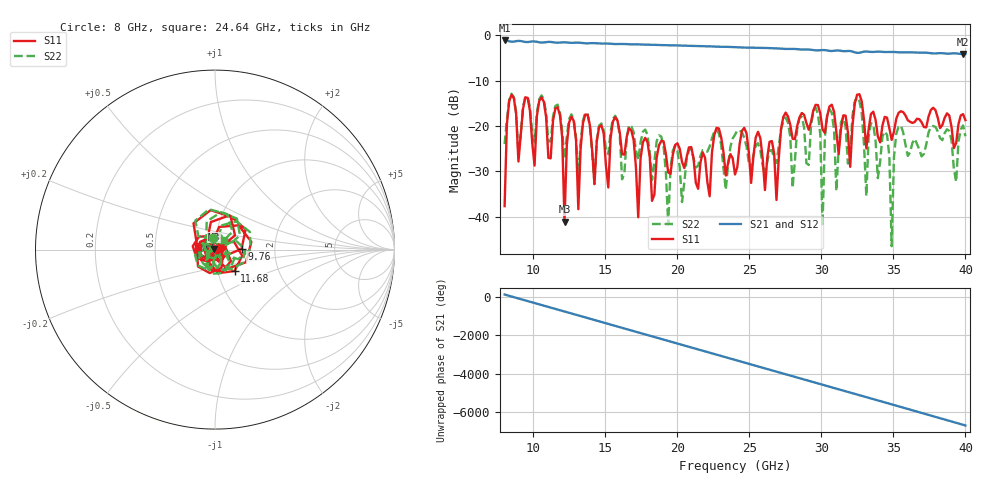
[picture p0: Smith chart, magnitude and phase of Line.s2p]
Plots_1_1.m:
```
clear;
close all;
SetupPath;


linewidth = 1;
axlinewidth = 1;
nplotx = 6;
nploty = 4;
xlims = [12 32];

clrs = lines(7);
clrs(4,:) = [];
    
file = 'Line.s2p';
[parameters, data] = CST.LoadData(file);
fs = parameters.frequencies/1e9;

s11 = squeeze(data(1,1,:));
s12 = squeeze(data(1,2,:));
s21 = squeeze(data(2,1,:));
s22 = squeeze(data(2,2,:));
[hFig, hAx] = figureex;
    if(length(hAx.Children) < 2)
        patch(hAx, [28 31 31 28], [-1e3 -1e3 1e3 1e3], [0 0 0], ...
            'FaceAlpha', 0.1, 'EdgeColor', 'none');
        patch(hAx, [13.75 14.5 14.5 13.75], [-1e3 -1e3 1e3 1e3], [0 0 0], ...
            'FaceAlpha', 0.1, 'EdgeColor', 'none');
    end
    hAx.ColorOrder = clrs;
    alignplot(hFig, nplotx, nploty, hFig.Number, [], 1);
%         hAx.Title.String = strrep(file, '.s2p', '');
    plot(hAx, fs, 20*log10(abs(s11)), 'LineWidth', linewidth);
    addlegendentry(hAx, 'S11');
    plot(hAx, fs, 20*log10(abs(s12)), 'LineWidth', linewidth);
    addlegendentry(hAx, 'S12');
%     plot(hAx, fs, 20*log10(abs(s21)), 'LineWidth', linewidth);
%     addlegendentry(hAx, 'S21');
    plot(hAx, fs, 20*log10(abs(s22)), 'LineWidth', linewidth);
    addlegendentry(hAx, 'S22');

    xlabel(hAx, 'Frequency [GHz]');
    ylabel(hAx, 'S_{ij} [dB]');
    xlim(hAx, xlims);
    ylim(hAx, [-30 0]);
    movelegend(hAx, 'se');
    hAx.LineWidth = axlinewidth;
    

roughness = 0.0;

% Connector
folder = 'h:\Server\Exports\';
[parameters, SCST] = CST.LoadData([folder, sprintf('Connector_TR_Deembed_%gum.s2p', roughness)]);
fCST = parameters.frequencies.';

roughness = 1.3;

folder = 'h:\Server\Exports\';
filename = sprintf('1-to-1-lossy_rough%gum-', roughness);
[f, ~, S11HFSS] = HFSS.LoadData([folder, filename, 'S11.csv']);
[f, ~, S12HFSS] = HFSS.LoadData([folder, filename, 'S12.csv']);
% [f, ~, S11HFSS] = HFSS.LoadData([folder, filename, 'S11_lowacc.csv']);
% [f, ~, S12HFSS] = HFSS.LoadData([folder, filename, 'S12_lowacc.csv']);

SHFSS = struct('s11', 10.^(S11HFSS./20), 's12', 10.^(S12HFSS./20), 's21', 10.^(S12HFSS./20), 's22', 10.^(S11HFSS./20));
ABCDHFSS = S2ABCD(SHFSS, 80, 80);

S11i = interp1(fCST./1e9, squeeze(SCST(1,1,:)), f, 'spline');
S12i = interp1(fCST./1e9, squeeze(SCST(1,2,:)), f, 'spline');
S21i = interp1(fCST./1e9, squeeze(SCST(2,1,:)), f, 'spline');
S22i = interp1(fCST./1e9, squeeze(SCST(2,2,:)), f, 'spline');

SCST = struct('s11', S11i, 's12', S12i, 's21', S21i, 's22', S22i);
Z1 = 80;%50.974587;
Z2 = 80;%77.987955;
ABCDCST = S2ABCD(SCST, Z1, Z2);

ABCDtotal = ABCDCST.mul(ABCDHFSS).mul(ABCDCST.reverse());
% ABCDtotal = ABCDCST.mul(ABCDCST.reverse());
Stotal = ABCD2S(ABCDtotal, 50, 50);

% Stotal = SHFSS;

% ABCDtotal = ABCDCST.reverse();
% Stotal = ABCD2S(ABCDtotal, 80, 50);

[hFig2, hAx2] = figureex;
    alignplot(hFig2, nplotx, nploty, hFig2.Number, [], 1);
%     title(hAx2, '1');

%     plot(hAx, f, S11HFSS, 'o', 'Color', clrs(1,:), 'LineWidth', linewidth);
    plot(hAx, f, 20*log10(abs(Stotal.s11)), 'k:', 'LineWidth', linewidth*2);
    addlegendentry(hAx, 'Simulation');
    plot(hAx, f, 20*log10(abs(Stotal.s12)), 'k:', 'LineWidth', linewidth*2);
%     plot(hAx, f, S12HFSS, 'x', 'Color', clrs(2,:), 'LineWidth', linewidth);
%     plot(hAx2, f, 10*log10(10.^(S12HFSS./20).^2 + 10.^(S11HFSS./20).^2), 'x', 'Color', clrs(2,:), 'LineWidth', linewidth);
%     addlegendentry(hAx2, '0.25\mum');
%     plot(hAx2, f, 10*log10(10.^(S12HFSS./20).^2 + 10.^(S11HFSS./20).^2) + 2*10*log10(abs(S11i).^2+abs(S12i).^2), 'o', 'Color', clrs(2,:), 'LineWidth', linewidth);


    plot(hAx2, fs, 10*log10(abs(s11).^2+abs(s12).^2), '-', 'Color', clrs(1,:), 'LineWidth', linewidth);
    addlegendentry(hAx2, 'Measurement');
    plot(hAx2, f, 10*log10(abs(Stotal.s11).^2 + abs(Stotal.s12).^2), '-', 'Color', clrs(2,:), 'LineWidth', linewidth);
    addlegendentry(hAx2, 'Simulation');% + connector');
    xlim(hAx2, xlims);
    xlabel(hAx2, 'Frequency [GHz]');
    ylabel(hAx2, 'Efficiency');
    
    ylim(hAx2, [-4, 0]);
        
        
    dispex('%s: %.2f at 12, %.2f at 32.\n', file, 20*log10(s12(fs == 12)), 20*log10(s12(fs == 32)));

% return
drawnow;
for(ifig = 1:100)
    if(ishandle(ifig))
        hFig = figure(ifig);
        hAx = hFig.CurrentAxes;
        cropfigure(hFig);
        legendlinelength(hFig, 15);
        drawnow;
        legend(hAx, 'NumColumns', 5);
        movelegend(hFig, 'se');
        if(ifig == 2 || ifig == 4)
            movelegend(hFig, 'sw');
        end
    end
end
```
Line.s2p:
!Agilent Technologies,N5227A,US51270464,A.10.00.00
!Agilent N5227A: A.10.00.00
!Date: Thursday, July 23, 2020 14:51:03
!Correction: S11(Full 2 Port(1,2))
!S21(Full 2 Port(1,2))
!S12(Full 2 Port(1,2))
!S22(Full 2 Port(1,2))
!S2P File: Measurements: S11, S21, S12, S22:
# Hz S  RI  R 50
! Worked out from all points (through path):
!   201 points, 8 GHz to 40 GHz, reference 50 ohm
!   highest |S21| = -1.12 dB at 8 GHz (marker M1); lowest = -4.1 dB at 39.84 GHz (marker M2)
!   lowest |S11| = -41.1 dB at 12.16 GHz (marker M3), VSWR 1.02, Z = 49.2 + j0.373 ohm
!   |S11| at or under -10 dB: start of sweep to end of sweep
!   |S22| runs from -46.5 to -12.9 dB; largest |S21 - S12| = 0.0005
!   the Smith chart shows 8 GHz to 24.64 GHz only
!   S11 on the Smith chart (normalised r, x): 8 GHz: 1.03, +0.00; 9.76 GHz: 1.35, +0.01; 11.68 GHz: 1.21, -0.29; 24.64 GHz: 0.83, +0.03
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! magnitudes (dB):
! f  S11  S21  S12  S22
! 8 GHz  -37.7  -1.1  -1.1  -24.0
! 9.76 GHz  -16.6  -1.4  -1.4  -15.9
! 11.68 GHz  -15.8  -1.6  -1.6  -15.3
! 12.16 GHz  -41.1  -1.5  -1.5  -27.3
! 24 GHz  -30.7  -2.6  -2.6  -21.9
! 24.64 GHz  -20.4  -2.7  -2.7  -22.6
! 30.08 GHz  -20.7  -3.2  -3.2  -42.0
! 32.48 GHz  -13.1  -3.9  -3.9  -13.7
! 34.88 GHz  -23.0  -3.6  -3.6  -46.5
! 39.84 GHz  -17.4  -4.1  -4.1  -19.9
! 40 GHz  -18.7  -4.1  -4.1  -22.2
